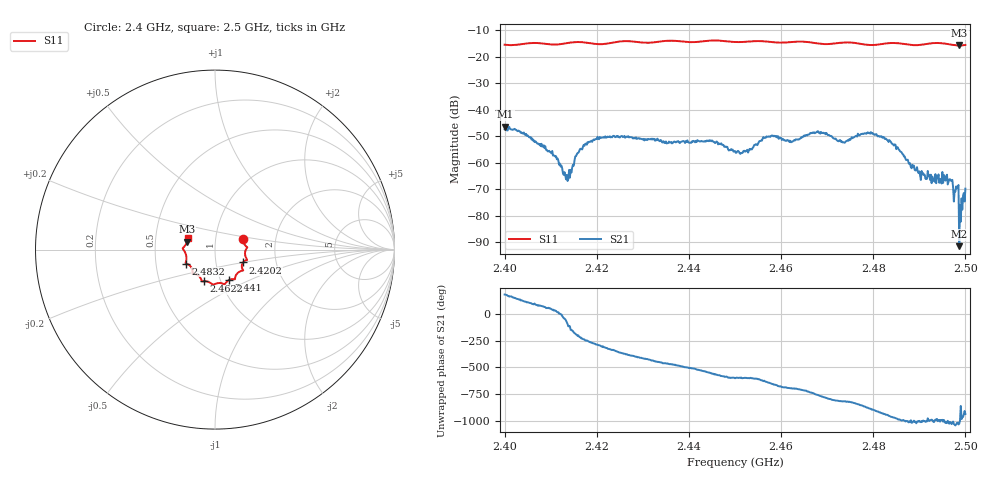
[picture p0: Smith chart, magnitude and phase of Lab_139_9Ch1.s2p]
# Hz S RI R 50
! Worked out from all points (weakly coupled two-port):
!   601 points, 2.4 GHz to 2.5 GHz, reference 50 ohm
!   highest |S21| = -46.44 dB at 2.4002 GHz (marker M1); lowest = -91.4 dB at 2.4987 GHz (marker M2)
!   lowest |S11| = -15.8 dB at 2.4987 GHz (marker M3), VSWR 1.39, Z = 36.4 + j3.33 ohm
!   |S11| at or under -10 dB: start of sweep to end of sweep
!   S12 and S22 are empty: the file has one direction only
!   S11 on the Smith chart (normalised r, x): 2.4 GHz: 1.36, +0.17; 2.4202 GHz: 1.35, -0.20; 2.441 GHz: 1.09, -0.39; 2.4622 GHz: 0.83, -0.30; 2.4832 GHz: 0.72, -0.12; 2.5 GHz: 0.73, +0.09
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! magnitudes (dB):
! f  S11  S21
! 2.4 GHz  -15.5  -47.4
! 2.4002 GHz  -15.6  -46.4
! 2.4085 GHz  -15.1  -53.4
! 2.4112 GHz  -15.5  -57.5
! 2.4133 GHz  -15.0  -66.2
! 2.4167 GHz  -14.6  -54.8
! 2.4202 GHz  -15.3  -50.2
! 2.4333 GHz  -14.4  -51.3
! 2.441 GHz  -14.6  -51.8
! 2.45 GHz  -14.5  -55.6
! 2.4577 GHz  -14.5  -50.2
! 2.4622 GHz  -14.5  -52.3
! 2.4667 GHz  -14.7  -48.9
! 2.4735 GHz  -14.7  -52.3
! 2.4792 GHz  -15.6  -48.7
! 2.4832 GHz  -15.0  -51.5
! 2.4833 GHz  -15.0  -52.2
! 2.4902 GHz  -15.6  -64.7
! 2.4968 GHz  -15.5  -66.8
! 2.4987 GHz  -15.8  -91.4
! 2.4992 GHz  -15.8  -73.4
! 2.5 GHz  -15.6  -69.7
